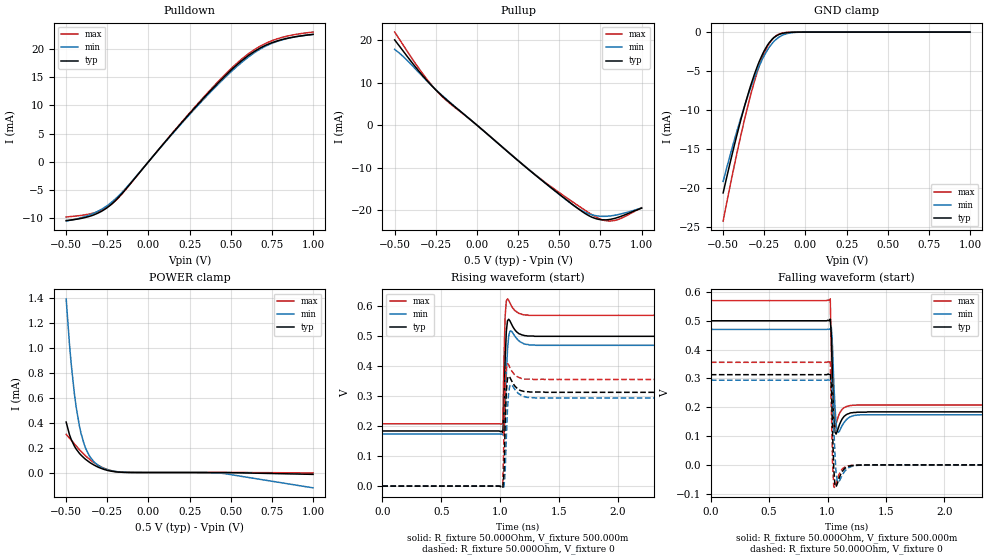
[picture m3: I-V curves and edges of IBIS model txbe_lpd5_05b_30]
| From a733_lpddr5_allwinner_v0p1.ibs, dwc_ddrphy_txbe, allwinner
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[Model] txbe_lpd5_05b_30
Model_type   I/O
Polarity   Non-Inverting
Enable   Active-High
C_comp   1.524pF   1.517pF   1.53pF
C_comp_pullup   285.267fF   277.290fF   288.625fF
C_comp_pulldown   1.179pF   1.178pF   1.182pF
Vinh = 310.000mV
Vinl = 190.000mV
Vmeas = 250.000mV
Vref = 250.000mV
Rref = 50Ohms
Cref = 0pF
[Model Spec]
Vinh   310.000mV   295.000mV   345.000mV
Vinl   190.000mV   175.000mV   225.000mV
Vmeas   250.000mV   235.000mV   285.000mV
Vref   250.000mV   235.000mV   285.000mV
D_overshoot_ampl_h 0.1 NA   NA
D_overshoot_ampl_l 0.1 NA   NA
D_overshoot_area_l 300.000m NA   NA
D_overshoot_area_h 300.000m NA   NA
[Receiver Thresholds]
Vth = 125.000mV
Vth_min = 118.000mV
Vth_max = 143.000mV
Vinh_ac = 60.000mV
Vinh_dc = 60.000mV
Vinl_ac = -60.000mV
Vinl_dc = -60.000mV
Tslew_ac = 5.000ns
Threshold_sensitivity = 0.5
Reference_supply Pullup_ref
[Temperature Range]   25.000   125.000   -40.000
[Voltage Range]   500.000mV   470.000mV   570.000mV
[GND Clamp Reference]   0.00V   0.00V   0.00V
[C Comp Corner]
| variable   typ   min   max
C_comp   1.524pF   1.517pF   1.53pF
C_comp_pullup   285.267fF   277.290fF   288.625fF
C_comp_pulldown   1.179pF   1.178pF   1.182pF
[Pulldown Reference]   0.00V   0.00V   0.00V
[POWER Clamp Reference]   500.000mV   470.000mV   570.000mV
[Pullup Reference]   500.000mV   470.000mV   570.000mV
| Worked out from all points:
|   slope of the pulldown table from 0 to 0.075 V, typ, clamps not added: 28.6 ohm
|   slope of the pullup table from 0 to 0.075 V, typ, clamps not added: 29.9 ohm
|   GND clamp passes 1 mA (typ) near -0.21 V on its own axis
|   rising waveform, R_fixture 50.000Ohm, V_fixture 500.000m: 20-80 % time 11.7ps typ, 16.6ps min, 11.9ps max; typ from 0.184 V to 0.5 V
|   rising waveform, R_fixture 50.000Ohm, V_fixture 0: 20-80 % time 13ps typ, 16.6ps min, 12.6ps max; typ from 0 V to 0.313 V
|   falling waveform, R_fixture 50.000Ohm, V_fixture 500.000m: 20-80 % time 13ps typ, 17.5ps min, 12.1ps max; typ from 0.5 V to 0.184 V
|   falling waveform, R_fixture 50.000Ohm, V_fixture 0: 20-80 % time 12.8ps typ, 17.3ps min, 12ps max; typ from 0.313 V to 0 V
[GND Clamp]
-500mV    -20.66mA   -19.18mA   -24.28mA
-450mV    -16.12mA   -15.23mA   -18.96mA
-400mV    -11.88mA   -11.55mA   -13.99mA
-360mV    -8.788mA   -8.843mA   -10.34mA
-330mV    -6.694mA   -6.985mA   -7.85mA
-290mV    -4.276mA   -4.796mA   -4.961mA
-260mV    -2.801mA   -3.408mA   -3.189mA
-220mV    -1.359mA   -1.949mA   -1.457mA
-190mV    -682.3uA   -1.166mA   -666.1uA
-130mV    -118.6uA   -317.6uA   -81.42uA
-50mV     -5.925uA   -26.96uA   -2.413uA
1V        1.01uA     7.434uA    299.9nA
[Power Clamp]
-500mV    404.6uA    1.393mA    306.3uA
-480mV    303.9uA    1.031mA    275.7uA
-470mV    267.1uA    878.8uA    260.4uA
-450mV    211.3uA    630.6uA    229.8uA
-420mV    154.5uA    375.8uA    183.9uA
-380mV    103.5uA    189.2uA    130.8uA
-350mV    74.95uA    115.7uA    97.55uA
-310mV    45.62uA    61.44uA    61.27uA
-240mV    14.14uA    19.05uA    19.64uA
-150mV    1.277uA    2.728uA    1.437uA
440mV     -284.7nA   -5.375uA   -46.35nA
1V        -14.93uA   -123.1uA   -3.315uA
[Pulldown]
-500mV    -10.42mA   -10.5mA    -9.78mA
-330mV    -9.386mA   -9.094mA   -9.057mA
-260mV    -8.321mA   -7.956mA   -8.219mA
-200mV    -6.854mA   -6.56mA    -6.889mA
150mV     5.193mA    5.095mA    5.252mA
340mV     11.44mA    11.23mA    11.6mA
500mV     16.19mA    15.89mA    16.45mA
610mV     18.89mA    18.62mA    19.19mA
690mV     20.34mA    20.15mA    20.66mA
770mV     21.3mA     21.21mA    21.66mA
880mV     22.09mA    22.07mA    22.49mA
1V        22.57mA    22.58mA    22.99mA
[Pullup]
-500mV    20.12mA    17.88mA    21.98mA
-440mV    17.07mA    15.9mA     18.42mA
-330mV    11.7mA     11.5mA     12.17mA
-270mV    9.114mA    9.15mA     9.204mA
-210mV    6.848mA    6.968mA    6.703mA
350mV     -11.63mA   -11.59mA   -11.56mA
550mV     -17.8mA    -17.88mA   -17.27mA
640mV     -20.41mA   -20.23mA   -19.65mA
730mV     -22.15mA   -21.42mA   -21.82mA
810mV     -22.23mA   -21.42mA   -22.62mA
870mV     -21.59mA   -20.99mA   -22.09mA
1V        -19.58mA   -19.55mA   -19.5mA
[Ramp]
R_load=50.000Ohm
dV/dt_r   188.693mV/12.500ps  176.942mV/17.000ps  215.398mV/11.000ps
dV/dt_f   188.693mV/13.500ps  176.942mV/18.000ps  215.398mV/12.500ps
[Rising waveform]
R_fixture=50.000Ohm
V_fixture=500.000m
V_fixture_min=470.000m
V_fixture_max=570.000m
0s        184mV      174mV      208mV
1.023ns   178mV      171mV      210mV
1.033ns   247mV      172mV      421mV
1.043ns   421mV      249mV      568mV
1.053ns   516mV      373mV      618mV
1.063ns   552mV      456mV      625mV
1.073ns   557mV      500mV      620mV
1.093ns   544mV      518mV      604mV
1.303ns   500mV      470mV      570mV
10ns      500mV      470mV      570mV
[Rising waveform]
R_fixture=50.000Ohm
V_fixture=0
0s        22.11uV    194.3uV    5.265uV
1.023ns   -5.848mV   -2.789mV   1.134mV
1.033ns   42.89mV    -2.895mV   179mV
1.043ns   203mV      46.83mV    342mV
1.053ns   316mV      161mV      399mV
1.063ns   359mV      258mV      409mV
1.073ns   367mV      314mV      405mV
1.093ns   355mV      339mV      388mV
1.303ns   314mV      294mV      356mV
10ns      313mV      294mV      356mV
[Falling waveform]
R_fixture=50.000Ohm
V_fixture=500.000m
V_fixture_min=470.000m
V_fixture_max=570.000m
0s        500mV      470mV      570mV
1.023ns   506mV      472mV      576mV
1.033ns   447mV      476mV      378mV
1.043ns   290mV      405mV      218mV
1.053ns   172mV      287mV      134mV
1.063ns   114mV      207mV      130mV
1.073ns   107mV      142mV      143mV
1.093ns   129mV      113mV      169mV
1.283ns   183mV      174mV      208mV
10ns      184mV      174mV      208mV
[Falling waveform]
R_fixture=50.000Ohm
V_fixture=0
0s        313mV      294mV      356mV
1.023ns   319mV      296mV      363mV
1.033ns   270mV      300mV      182mV
1.043ns   112mV      241mV      6.832mV
1.053ns   -11.16mV   131mV      -75.49mV
1.063ns   -69.3mV    39.02mV    -79.5mV
1.073ns   -75.97mV   -28.22mV   -65.69mV
1.093ns   -53.27mV   -59.5mV    -38.58mV
1.363ns   -84.56uV   59.97uV    42.08uV
10ns      22.36uV    194.4uV    5.687uV
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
